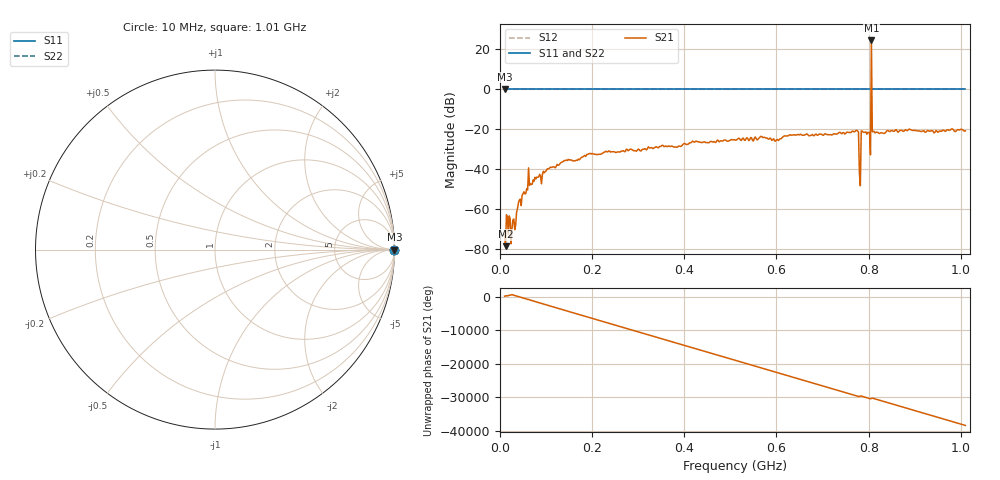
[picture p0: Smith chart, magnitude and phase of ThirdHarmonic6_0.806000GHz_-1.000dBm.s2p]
! 8/16/2025 2:51:43 AM
! C:\ANRITSUVNA\TEMP\TEMP.S2P
! CHANNEL.1
! TR.MEASUREMENT
! RAW.DATA
! RF.CORRECTION.OFF
! AVERAGING.OFF
! IF.BANDWIDTH: 5KHZ
! SWEEPTYPE:  FREQ.SWEEP(Linear)
! Reference Plane Port Info
! PORT:  PORT1  PORT2
! DISTANCE:  0  m  0  m
! TIME:  0  s  0  s
! PHASE.OFFSET:  0  deg.  0  deg.
! LOSS:  0  dB  0  dB
! REF.LOSS:  0  dB  0  dB
! REF.FREQ:  0  Hz  0  Hz
! Power Info
! POWER:  -20  dBm  -20  dBm
! EFF.POWER:  -20  dBm  -20  dBm
! SOURCE.ATTEN:  0  dB  0  dB
! TEST.ATTEN:  0  dB  0  dB
# GHZ S RI R 50.0
! FREQ.GHZ  S11RE  S11IM  S21RE  S21IM  S12RE  S12IM  S22RE  S22IM
!; PortSelection: Port_12
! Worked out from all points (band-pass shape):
!   501 points, 10 MHz to 1.01 GHz, reference 50 ohm
!   highest |S21| = 24.25 dB at 806 MHz (marker M1); lowest = -78.8 dB at 12 MHz (marker M2)
!   |S21| within 3 dB of the highest: 805.8952 MHz to 806.1311 MHz (235.9 kHz wide, 0.0293 % of centre)
!   lowest |S11| = 0.0 dB at 10 MHz (marker M3)
!   |S11| at or under -10 dB: nowhere
!   |S22| runs from 0.0 to 0.0 dB; largest |S21 - S12| = 17
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0.01  1 0  -0.000185 0.000136  1 0  1 0
0.012  1 0  -0.000111 -2.98e-05  1 0  1 0
0.018  1 0  0.000116 -0.000195  1 0  1 0
0.028  1 0  -0.000417 0.000319  1 0  1 0
0.04  1 0  0.0012 0.000701  1 0  1 0
0.066  1 0  0.00252 0.00341  1 0  1 0
0.178  1 0  -0.0194 -0.00203  1 0  1 0
0.344  1 0  0.0303 -0.0143  1 0  1 0
0.51  1 0  -0.0353 0.039  1 0  1 0
0.678  1 0  -0.0666 -0.0274  1 0  1 0
0.774  1 0  0.028 -0.0871  1 0  1 0
0.778  1 0  -0.045 0.0695  1 0  1 0
0.782  1 0  -0.000777 -0.00366  1 0  1 0
0.784  1 0  -0.0408 -0.0781  1 0  1 0
0.788  1 0  0.0178 0.081  1 0  1 0
0.8  1 0  0.0593 -0.054  1 0  1 0
0.802  1 0  -0.0436 -0.0692  1 0  1 0
0.806  1 0  -6.753 -14.85  1 0  1 0
0.81  1 0  0.0106 -0.0852  1 0  1 0
0.812  1 0  -0.0842 -0.0156  1 0  1 0
0.844  1 0  0.0839 -0.022  1 0  1 0
1.01  1 0  -0.0451 0.0762  1 0  1 0
